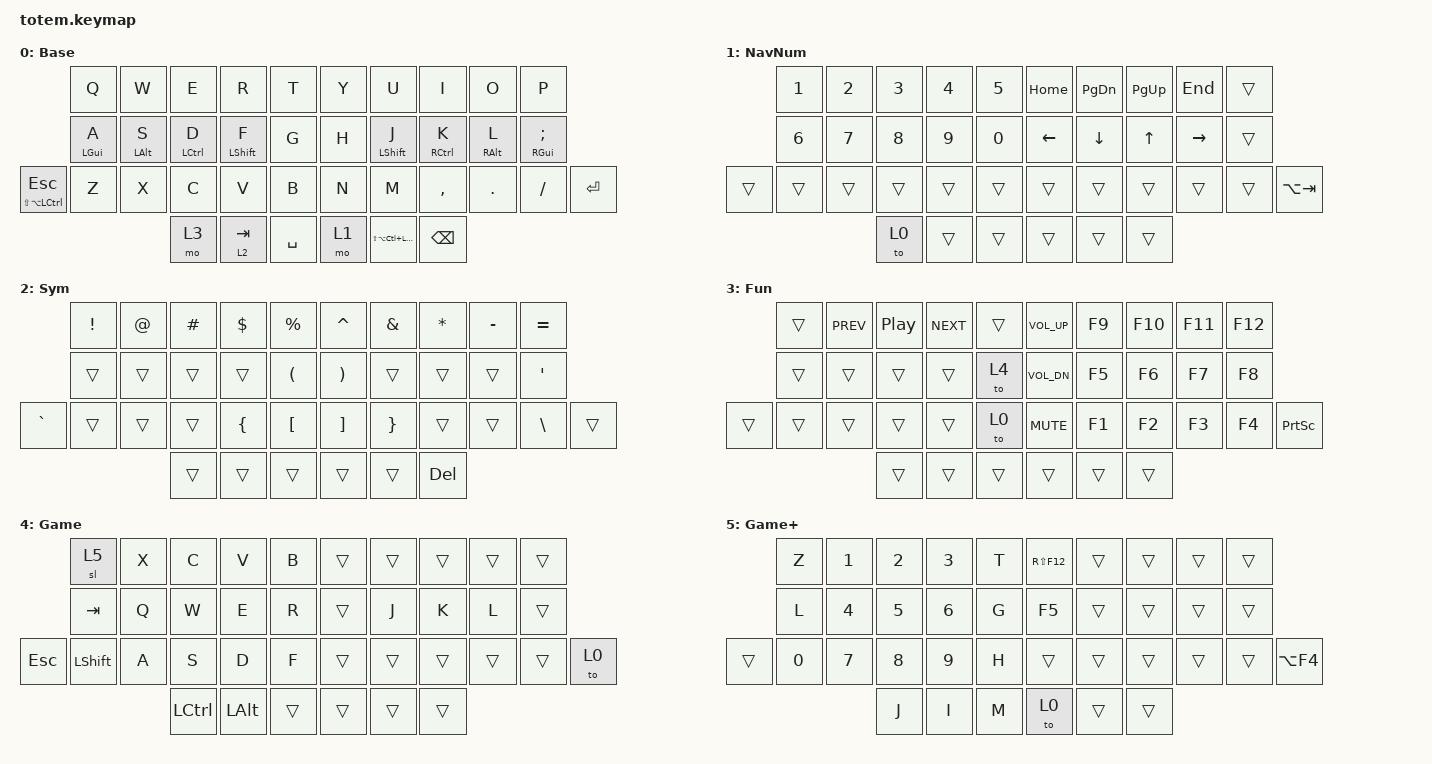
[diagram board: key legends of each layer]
//
//                                                        ▀▀▀▀▀     ▀▀▀▀▀          ▀▀█▀▀
//                                                        ▄▀▀▀▄  ▄  ▄▀▀▀▄  ▄  ▄▀▀▀▄  █  ▄▀▀▀▄
//                                                        █   █  █  █   █  █  █   █  █  █   █
//                                                         ▀▀▀   █   ▀▀▀   █   ▀▀▀   ▀   ▀▀▀
//                                                               █      ▄▄▄█▄▄▄    █   █  
//                                                               ▀      █  █  █     █▄█
//                                                             ▀▀▀▀▀    █  █  █      ▀
//                                                                      ▀  ▀  ▀
//
// ▄▄▄▄▄▄▄▄▄▄▄▄▄▄▄▄▄▄▄▄▄▄▄▄▄▄▄▄▄▄▄▄▄▄▄▄▄▄▄▄▄▄▄▄▄▄▄▄▄▄▄▄▄▄▄▄▄▄▄▄▄▄▄▄▄▄▄▄▄▄▄▄▄▄▄▄▄▄▄▄▄▄▄▄▄▄▄▄▄▄▄▄▄▄▄▄▄▄▄▄▄▄▄▄▄▄▄▄▄▄▄▄▄▄▄▄▄▄▄▄▄▄▄▄▄▄▄▄▄▄▄▄▄▄▄▄▄▄▄▄▄▄▄▄▄▄▄▄▄

#include <behaviors.dtsi>
#include <dt-bindings/zmk/keys.h>

#define Base        0
#define Nav         1
#define Sym         2
#define Fun         3
#define Game        4
#define Gameplus    5

&mt {
    quick-tap-ms = <100>;
    global-quick-tap;
    flavor = "tap-preferred";
    tapping-term-ms = <170>;
};

&lt {
    tapping-term-ms = <240>;
    flavor = "balanced";
    quick-tap-ms = <150>;
};

/ {
    behaviors {
        hm: homerow_mods {
            compatible = "zmk,behavior-hold-tap";
            label = "HOMEROW_MODS";
            #binding-cells = <2>;
            flavor = "tap-preferred";
            tapping-term-ms = <200>;
            quick-tap-ms = <125>;
            global-quick-tap;
            bindings = <&kp>, <&kp>;
        };

        fun_game: fun_game {
            compatible = "zmk,behavior-tap-dance";
            label = "FUN_GAME";
            #binding-cells = <0>;
            bindings = <&mo 3>, <&to 4>;
        };

        hml: homerow_left {
            compatible = "zmk,behavior-hold-tap";
            label = "HM_L";
            #binding-cells = <2>;
            flavor = "tap-preferred";
            tapping-term-ms = <200>;
            quick-tap-ms = <200>;
            bindings = <&kp>, <&kp>;

            hold-trigger-key-positions = <16 17 18 19 32 33 34 35 36 37>;
            hold-trigger-on-release;
            require-prior-idle-ms = <125>;
        };

        hmr: homerow_right {
            compatible = "zmk,behavior-hold-tap";
            label = "HMR";
            #binding-cells = <2>;
            flavor = "tap-preferred";
            tapping-term-ms = <200>;
            quick-tap-ms = <200>;
            bindings = <&kp>, <&kp>;

            hold-trigger-key-positions = <32 33 34 35 36 37 13 12 11 10>;
            hold-trigger-on-release;
            require-prior-idle-ms = <125>;
        };

        return_base: return_base {
            compatible = "zmk,behavior-tap-dance";
            label = "RETURN_BASE";
            #binding-cells = <0>;
            bindings = <&kp ENTER>, <&to 0>;
        };
    };

    combos {
        compatible = "zmk,combos";

        NavNumToggle {
            bindings = <&tog 1>;
            key-positions = <16 17 18>;
            layers = <0 1>;
        };

        BaseToggle {
            bindings = <&tog 4>;
            key-positions = <22 23 24>;
            layers = <4 0>;
        };
    };

    keymap {
        compatible = "zmk,keymap";

        Base {
            display-name = "Base";
            bindings = <
                           &kp Q            &kp W            &kp E         &kp R              &kp T        &kp Y  &kp U                     &kp I          &kp O             &kp P
                           &hml LEFT_GUI A  &hml LEFT_ALT S  &hml LCTRL D  &hml LEFT_SHIFT F  &kp G        &kp H  &hmr LSHIFT J             &hmr RCTRL K   &hmr RIGHT_ALT L  &hmr RGUI SEMICOLON
&hml LS(LA(LCTRL)) ESCAPE  &kp Z            &kp X            &kp C         &kp V              &kp B        &kp N  &kp M                     &kp COMMA      &kp PERIOD        &kp SLASH            &kp RET
                                                             &mo 3         &lt 2 TAB          &kp SPACE    &mo 1  &kp LS(LA(LC(LEFT_GUI)))  &kp BACKSPACE
            >;
        };

        NavNum {
            display-name = "NavNum";
            bindings = <
        &kp NUMBER_1  &kp NUMBER_2  &kp NUMBER_3  &kp NUMBER_4  &kp N5    &kp HOME  &kp PG_DN  &kp PG_UP  &kp END    &trans
        &kp NUMBER_6  &kp N7        &kp N8        &kp N9        &kp N0    &kp LEFT  &kp DOWN   &kp UP     &kp RIGHT  &trans
&trans  &trans        &trans        &trans        &trans        &trans    &trans    &trans     &trans     &trans     &trans  &kp LA(TAB)
                                    &to 0         &trans        &trans    &trans    &trans     &trans
            >;
        };

        Sym {
            display-name = "Sym";
            bindings = <
           &kp EXCL  &kp AT  &kp HASH  &kp DOLLAR      &kp PERCENT             &kp CARET              &kp AMPERSAND    &kp ASTRK  &kp MINUS  &kp EQUAL
           &trans    &trans  &trans    &trans          &kp LEFT_PARENTHESIS    &kp RIGHT_PARENTHESIS  &trans           &trans     &trans     &kp SINGLE_QUOTE
&kp GRAVE  &trans    &trans  &trans    &kp LEFT_BRACE  &kp LEFT_BRACKET        &kp RIGHT_BRACKET      &kp RIGHT_BRACE  &trans     &trans     &kp BACKSLASH     &trans
                             &trans    &trans          &trans                  &trans                 &trans           &kp DEL
            >;
        };

        Fun {
            display-name = "Fun";
            bindings = <
        &trans  &kp C_PREV  &kp C_PP  &kp C_NEXT  &trans    &kp C_VOLUME_UP  &kp F9  &kp F10  &kp F11  &kp F12
        &trans  &trans      &trans    &trans      &to 4     &kp C_VOL_DN     &kp F5  &kp F6   &kp F7   &kp F8
&trans  &trans  &trans      &trans    &trans      &to 0     &kp K_MUTE       &kp F1  &kp F2   &kp F3   &kp F4   &kp PRINTSCREEN
                            &trans    &trans      &trans    &trans           &trans  &trans
            >;
        };

        Gaming {
            display-name = "Game";
            bindings = <
         &sl 5           &kp X  &kp C      &kp V         &kp B     &trans  &trans  &trans  &trans  &trans
         &kp TAB         &kp Q  &kp W      &kp E         &kp R     &trans  &kp J   &kp K   &kp L   &trans
&kp ESC  &kp LEFT_SHIFT  &kp A  &kp S      &kp D         &kp F     &trans  &trans  &trans  &trans  &trans  &to 0
                                &kp LCTRL  &kp LEFT_ALT  &trans    &trans  &trans  &trans
            >;
        };

        Gaming+ {
            display-name = "Game+";
            bindings = <
        &kp Z   &kp NUMBER_1  &kp NUMBER_2  &kp NUMBER_3  &kp T    &kp RS(F12)  &trans  &trans  &trans  &trans
        &kp L   &kp NUMBER_4  &kp N5        &kp NUMBER_6  &kp G    &kp F5       &trans  &trans  &trans  &trans
&trans  &kp N0  &kp N7        &kp N8        &kp N9        &kp H    &trans       &trans  &trans  &trans  &trans  &kp LA(F4)
                              &kp J         &kp I         &kp M    &to 0        &trans  &trans
            >;
        };
    };
};
